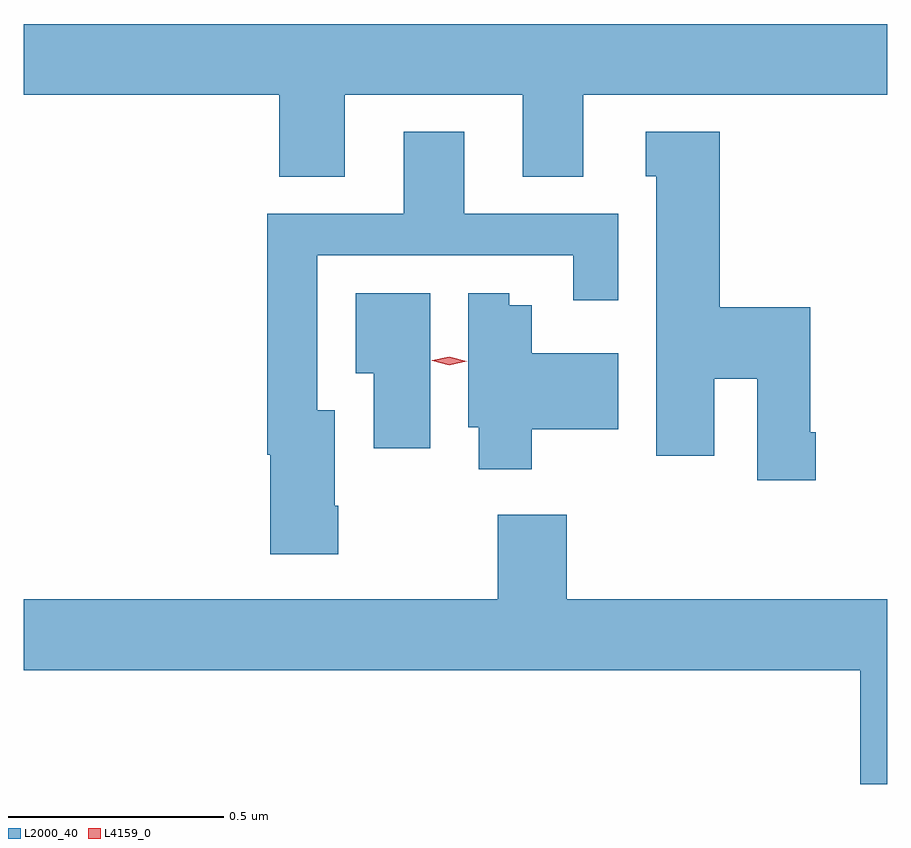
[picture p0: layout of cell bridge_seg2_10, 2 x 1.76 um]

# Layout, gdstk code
import gdstk
lib = gdstk.Library(unit=1e-6, precision=1e-09)
def P(c, l, *ps):  # polygons
    for p in ps: c.add(gdstk.Polygon(p, *l))
L2000_40 = (2000, 40)
L4159_0 = (4159, 0)

bridge_seg2_10 = lib.new_cell('bridge_seg2_10')
P(bridge_seg2_10, L2000_40, [(769.579,603.68),(769.991,603.68),(769.991,603.49),(770.131,603.49),(770.131,603.68),(770.835,603.68),(770.835,603.844),(768.835,603.844),(768.835,603.68),(769.427,603.68),(769.427,603.49),(769.579,603.49)],
  [(770.669,602.899),(770.656,602.899),(770.656,603.188),(770.447,603.188),(770.447,603.595),(770.276,603.595),(770.276,603.492),(770.3,603.492),(770.3,602.844),(770.434,602.844),(770.434,603.023),(770.534,603.023),(770.534,602.787),(770.669,602.787)],
  [(769.563,602.728),(769.555,602.728),(769.555,602.95),(769.515,602.95),(769.515,603.309),(770.108,603.309),(770.108,603.204),(770.212,603.204),(770.212,603.405),(769.855,603.405),(769.855,603.595),(769.715,603.595),(769.715,603.405),(769.399,603.405),(769.399,602.846),(769.406,602.846),(769.406,602.616),(769.563,602.616)],
  [(769.777,603.22),(769.604,603.22),(769.604,603.035),(769.646,603.035),(769.646,602.862),(769.777,602.862)],
  [(770.011,602.906),(770.212,602.906),(770.212,603.082),(770.011,603.082),(770.011,603.193),(769.959,603.193),(769.959,603.22),(769.865,603.22),(769.865,602.91),(769.889,602.91),(769.889,602.813),(770.011,602.813)],
  [(770.835,602.512),(770.093,602.512),(770.093,602.707),(769.933,602.707),(769.933,602.512),(768.835,602.512),(768.835,602.348),(770.772,602.348),(770.772,602.084),(770.835,602.084)])
P(bridge_seg2_10, L4159_0, [(769.82,603.054),(769.781,603.064),(769.78,603.065),(769.781,603.065),(769.821,603.074),(769.861,603.063),(769.861,603.063),(769.861,603.063)])

lib.write_gds('bridge_seg2_10.gds')
